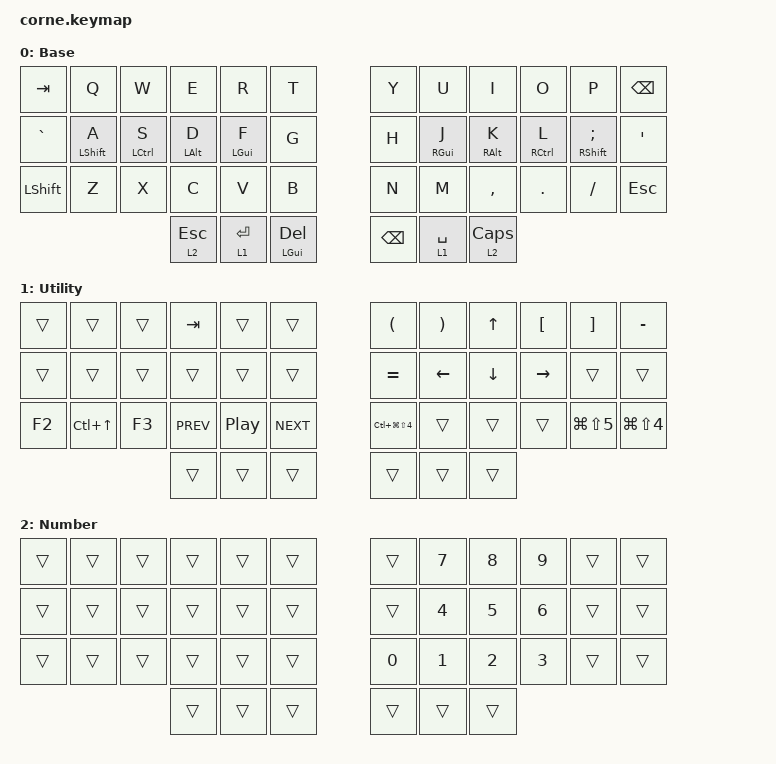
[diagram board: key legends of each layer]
/*
 * Copyright (c) 2020 The ZMK Contributors
 *
 * SPDX-License-Identifier: MIT
 */

#include <behaviors.dtsi>
#include <dt-bindings/zmk/keys.h>
/ {
        keymap {
                compatible = "zmk,keymap";

                default_layer {
// -----------------------------------------------------------------------------------------
// | TAB     | Q       | W       | E       | R       | T       |   | Y       | U       | I       | O       | P       | BKSP    |
// | `       | A/SHFT  | S/CTRL  | D/ALT   | F/CMD   | G       |   | H       | J/CMD   | K/ALT   | L/CTRL  | ;/SHFT  | '       |
// | SHFT    | Z       | X       | C       | V       | B       |   | N       | M       | ,       | .       | /       | ESC     |
//                    | ESC/NUM | ENT/UTIL | DEL/CMD  |   | BKSP    | SPC/UTIL | CAPS/NUM |
                        display-name = "Base";
                        bindings = <
   &kp TAB   &kp Q &kp W &kp E &kp R &kp T   &kp Y &kp U  &kp I     &kp O   &kp P    &kp BSPC
   &kp GRAVE &mt LSHFT A &mt LCTRL S &mt LALT D &mt LGUI F &kp G   &kp H &mt RGUI J &mt RALT K &mt RCTRL L &mt RSHFT SEMI &kp SQT
   &kp LSHFT &kp Z &kp X &kp C &kp V &kp B   &kp N &kp M  &kp COMMA &kp DOT &kp FSLH &kp ESC
                  &lt 2 ESC &lt 1 RET &mt LGUI DEL      &kp BSPC &lt 1 SPACE &lt 2 CAPS
                        >;
                };

                utility_layer {

// -----------------------------------------------------------------------------------------
// |         |         |         | TAB     |         |         |   | (       | )       | UP      | [       | ]       | -       |
// |         |         |         |         |         |         |   | =       | LEFT    | DOWN    | RIGHT   |         |         |
// | F2      | MISS    | F3      | PREV    | PLAY    | SKIP    |   | CAPC    |         |         |         | VID     | CAP     |
//                    |         |         |         |   |         |         |         |

                        display-name = "Utility";
                        bindings = <
   &trans &trans &trans &kp TAB &trans &trans   &kp LPAR &kp RPAR &kp UP &kp LBKT &kp RBKT &kp MINUS
   &trans &trans &trans &trans &trans &trans   &kp EQUAL &kp LEFT &kp DOWN &kp RIGHT &trans &trans
   &kp F2 &kp LC(UP) &kp F3 &kp C_PREV &kp C_PP &kp C_NEXT   &kp LC(LG(LS(N4))) &trans &trans &trans &kp LG(LS(N5)) &kp LG(LS(N4))
                  &trans &trans &trans      &trans &trans &trans
                        >;
                };

                number_layer {

// -----------------------------------------------------------------------------------------
// |         |         |         |         |         |         |   |         | 7       | 8       | 9       |         |         |
// |         |         |         |         |         |         |   |         | 4       | 5       | 6       |         |         |
// |         |         |         |         |         |         |   | 0       | 1       | 2       | 3       |         |         |
//                    |         |         |         |   |         |         |         |

                        display-name = "Number";
                        bindings = <
   &trans &trans &trans &trans &trans &trans   &trans &kp N7 &kp N8 &kp N9 &trans &trans
   &trans &trans &trans &trans &trans &trans   &trans &kp N4 &kp N5 &kp N6 &trans &trans
   &trans &trans &trans &trans &trans &trans   &kp N0 &kp N1 &kp N2 &kp N3 &trans &trans
                  &trans &trans &trans      &trans &trans &trans
                        >;
                };
        };
};
